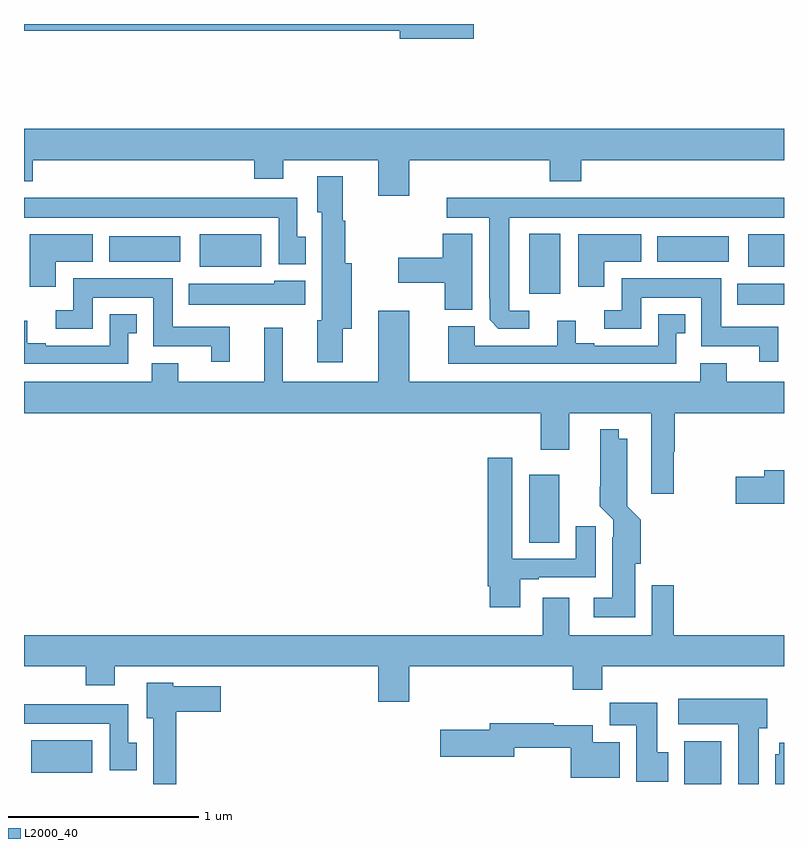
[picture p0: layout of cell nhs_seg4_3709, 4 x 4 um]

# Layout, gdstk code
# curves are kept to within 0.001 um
import gdstk
lib = gdstk.Library(unit=1e-6, precision=1e-09)
def R(c, l, rs):  # rectangles x0, y0, x1, y1
    for r in rs: c.add(gdstk.rectangle(r[:2], r[2:], *l))
def P(c, l, *ps):  # polygons
    for p in ps: c.add(gdstk.Polygon(p, *l))
L2000_40 = (2000, 40)

nhs_seg4_3709 = lib.new_cell('nhs_seg4_3709')
R(nhs_seg4_3709, L2000_40, [(310.475,762.9,310.671,763.126), (307.037,762.959,307.36,763.129), (309.659,764.17,309.817,764.527), (310.754,765.422,311,765.532), (309.659,765.48,309.823,765.796), (307.925,765.623,308.248,765.793), (310.811,765.623,311,765.793), (307.448,765.65,307.822,765.784), (310.334,765.65,310.708,765.784)])
P(nhs_seg4_3709, L2000_40, [(309.367,766.9),(307,766.9),(307,766.864),(308.978,766.864),(308.978,766.822),(309.367,766.822)],
  [(309.028,766.184),(309.767,766.184),(309.767,766.073),(309.932,766.073),(309.932,766.184),(311,766.184),(311,766.348),(307,766.348),(307,766.073),(307.046,766.073),(307.046,766.184),(308.213,766.184),(308.213,766.085),(308.365,766.085),(308.365,766.184),(308.864,766.184),(308.864,765.996),(309.028,765.996)],
  [(308.677,765.296),(308.725,765.296),(308.725,765.64),(308.69,765.64),(308.69,765.864),(308.677,765.864),(308.677,766.099),(308.543,766.099),(308.543,765.909),(308.567,765.909),(308.567,765.342),(308.543,765.342),(308.543,765.12),(308.677,765.12)],
  [(309.658,765.39),(309.553,765.39),(309.553,765.881),(311,765.881),(311,765.985),(309.225,765.985),(309.225,765.881),(309.449,765.881),(309.45,765.343),(309.496,765.297),(309.658,765.297)],
  [(308.482,765.78),(308.437,765.78),(308.437,765.985),(307,765.985),(307,765.881),(308.34,765.881),(308.34,765.636),(308.482,765.636)],
  [(309.358,765.796),(309.203,765.796),(309.203,765.669),(308.97,765.669),(308.97,765.539),(309.215,765.539),(309.215,765.395),(309.358,765.395)],
  [(310.054,765.65),(310.249,765.65),(310.249,765.793),(309.917,765.793),(309.917,765.516),(310.054,765.516)],
  [(307.168,765.65),(307.363,765.65),(307.363,765.793),(307.031,765.793),(307.031,765.516),(307.168,765.516)],
  [(308.084,765.307),(307.783,765.307),(307.783,765.562),(307.259,765.562),(307.259,765.393),(307.167,765.393),(307.167,765.297),(307.363,765.297),(307.363,765.458),(307.679,765.458),(307.679,765.203),(307.985,765.203),(307.985,765.123),(308.084,765.123)],
  [(310.97,765.307),(310.669,765.307),(310.669,765.562),(310.145,765.562),(310.145,765.393),(310.053,765.393),(310.053,765.297),(310.249,765.297),(310.249,765.458),(310.565,765.458),(310.565,765.203),(310.871,765.203),(310.871,765.123),(310.97,765.123)],
  [(308.479,765.55),(308.316,765.55),(308.316,765.532),(307.868,765.532),(307.868,765.422),(308.479,765.422)],
  [(310.419,764.648),(310.424,764.648),(310.424,764.852),(311,764.852),(311,765.016),(310.699,765.016),(310.699,765.115),(310.559,765.115),(310.559,765.016),(309.028,765.016),(309.028,765.391),(308.864,765.391),(308.864,765.016),(308.363,765.016),(308.363,765.301),(308.264,765.301),(308.264,765.016),(307.813,765.016),(307.813,765.115),(307.673,765.115),(307.673,765.016),(307,765.016),(307,764.852),(309.719,764.852),(309.719,764.658),(309.871,764.658),(309.871,764.852),(310.301,764.852),(310.301,764.427),(310.419,764.427)],
  [(310.434,765.273),(310.48,765.273),(310.48,765.373),(310.338,765.373),(310.338,765.207),(310,765.207),(310,765.22),(309.904,765.22),(309.904,765.337),(309.806,765.337),(309.806,765.207),(309.372,765.207),(309.372,765.31),(309.233,765.31),(309.233,765.111),(310.434,765.111)],
  [(307.548,765.273),(307.594,765.273),(307.594,765.373),(307.452,765.373),(307.452,765.207),(307.114,765.207),(307.114,765.22),(307.018,765.22),(307.018,765.337),(307,765.337),(307,765.111),(307.548,765.111)],
  [(310.216,764.058),(310.247,764.058),(310.247,764.29),(310.175,764.362),(310.174,764.716),(310.129,764.716),(310.129,764.767),(310.032,764.767),(310.031,764.362),(310.101,764.292),(310.101,764.198),(310.097,764.198),(310.097,763.879),(309.999,763.879),(309.999,763.778),(310.216,763.778)],
  [(309.613,763.977),(309.709,763.977),(309.709,763.989),(310.009,763.989),(310.009,764.257),(309.905,764.257),(309.905,764.085),(309.571,764.085),(309.571,764.617),(309.44,764.617),(309.44,763.942),(309.452,763.942),(309.452,763.83),(309.613,763.83)],
  [(311,764.551),(310.895,764.551),(310.895,764.517),(310.746,764.517),(310.746,764.375),(311,764.375)],
  [(309.028,763.52),(309.887,763.52),(309.887,763.396),(310.043,763.396),(310.043,763.52),(311,763.52),(311,763.684),(310.421,763.684),(310.421,763.945),(310.305,763.945),(310.305,763.684),(309.871,763.684),(309.871,763.879),(309.731,763.879),(309.731,763.684),(307,763.684),(307,763.52),(307.325,763.52),(307.325,763.421),(307.477,763.421),(307.477,763.52),(308.864,763.52),(308.864,763.332),(309.028,763.332)],
  [(307.802,763.28),(308.035,763.28),(308.035,763.414),(307.785,763.414),(307.785,763.432),(307.646,763.432),(307.646,763.245),(307.679,763.245),(307.679,762.9),(307.802,762.9)],
  [(310.867,763.194),(310.912,763.194),(310.912,763.348),(310.443,763.348),(310.443,763.214),(310.76,763.214),(310.76,762.9),(310.867,762.9)],
  [(310.39,763.068),(310.333,763.068),(310.333,763.327),(310.084,763.327),(310.084,763.208),(310.223,763.208),(310.223,762.912),(310.39,762.912)],
  [(307.594,763.116),(307.549,763.116),(307.549,763.321),(307,763.321),(307,763.217),(307.452,763.217),(307.452,762.972),(307.594,762.972)],
  [(310.135,763.12),(309.994,763.12),(309.994,763.208),(309.788,763.208),(309.788,763.219),(309.452,763.219),(309.452,763.185),(309.192,763.185),(309.192,763.043),(309.58,763.043),(309.58,763.09),(309.877,763.09),(309.877,762.932),(310.135,762.932)],
  [(311,763.117),(310.976,763.117),(310.976,763.056),(310.955,763.056),(310.955,762.9),(311,762.9)])

lib.write_gds('nhs_seg4_3709.gds')
